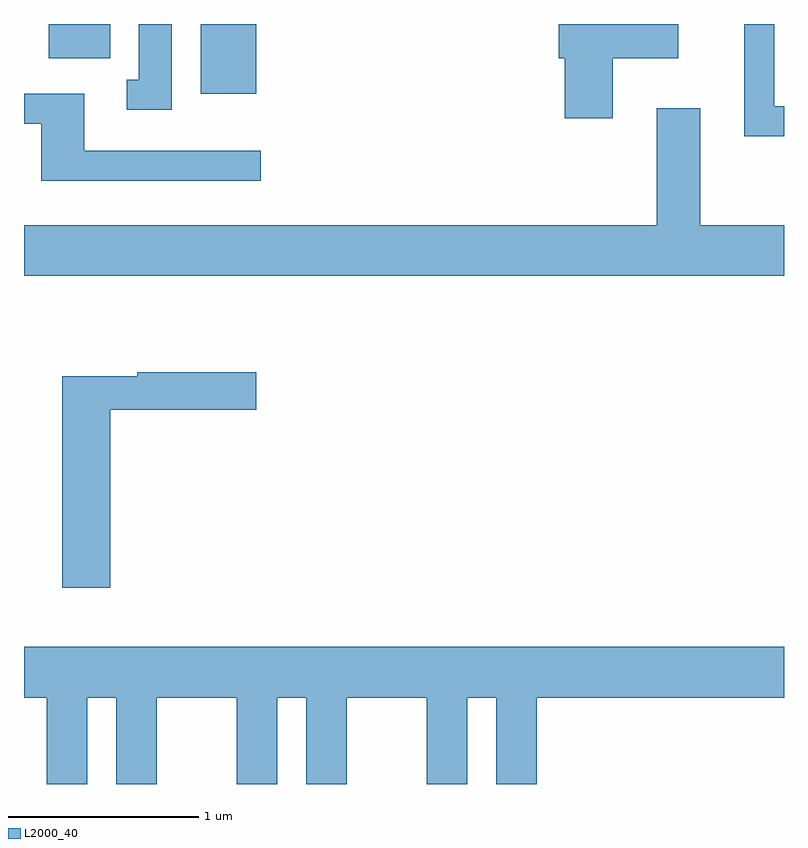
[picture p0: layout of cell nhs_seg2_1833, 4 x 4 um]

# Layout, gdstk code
import gdstk
lib = gdstk.Library(unit=1e-6, precision=1e-09)
def R(c, l, rs):  # rectangles x0, y0, x1, y1
    for r in rs: c.add(gdstk.rectangle(r[:2], r[2:], *l))
def P(c, l, *ps):  # polygons
    for p in ps: c.add(gdstk.Polygon(p, *l))
L2000_40 = (2000, 40)

nhs_seg2_1833 = lib.new_cell('nhs_seg2_1833')
R(nhs_seg2_1833, L2000_40, [(238.541,1111.436,238.834,1111.802), (237.741,1111.621,238.064,1111.802)])
P(nhs_seg2_1833, L2000_40, [(241.611,1111.369),(241.559,1111.369),(241.559,1111.802),(241.401,1111.802),(241.401,1111.211),(241.611,1111.211)],
  [(240.709,1111.621),(241.054,1111.621),(241.054,1111.802),(240.426,1111.802),(240.426,1111.621),(240.456,1111.621),(240.456,1111.306),(240.709,1111.306)],
  [(238.389,1111.802),(238.216,1111.802),(238.216,1111.509),(238.153,1111.509),(238.153,1111.351),(238.389,1111.351)],
  [(238.858,1111.134),(237.929,1111.134),(237.929,1111.434),(237.611,1111.434),(237.611,1111.276),(237.701,1111.276),(237.701,1110.976),(238.858,1110.976)],
  [(241.611,1110.744),(241.169,1110.744),(241.169,1111.359),(240.941,1111.359),(240.941,1110.744),(237.611,1110.744),(237.611,1110.476),(241.611,1110.476)],
  [(238.064,1109.771),(238.834,1109.771),(238.834,1109.969),(238.206,1109.969),(238.206,1109.949),(237.811,1109.949),(237.811,1108.836),(238.064,1108.836)],
  [(237.944,1108.256),(238.096,1108.256),(238.096,1107.802),(238.309,1107.802),(238.309,1108.256),(238.731,1108.256),(238.731,1107.802),(238.944,1107.802),(238.944,1108.256),(239.096,1108.256),(239.096,1107.802),(239.309,1107.802),(239.309,1108.256),(239.731,1108.256),(239.731,1107.802),(239.944,1107.802),(239.944,1108.256),(240.096,1108.256),(240.096,1107.802),(240.309,1107.802),(240.309,1108.256),(241.611,1108.256),(241.611,1108.524),(237.611,1108.524),(237.611,1108.256),(237.731,1108.256),(237.731,1107.802),(237.944,1107.802)])

lib.write_gds('nhs_seg2_1833.gds')
